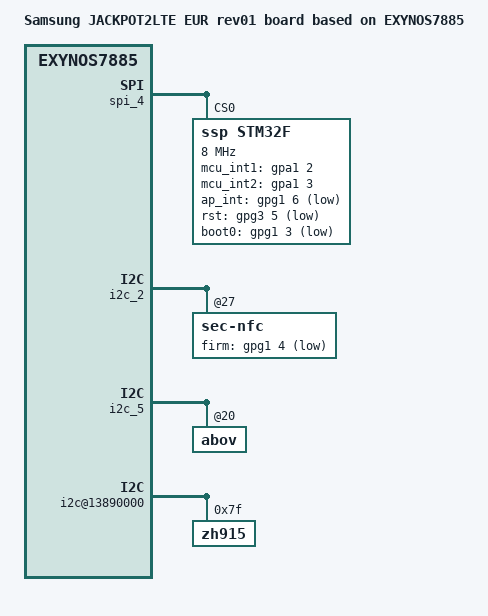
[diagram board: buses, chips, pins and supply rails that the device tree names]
/*
 * SAMSUNG UNIVERSAL7885 board device tree source
 *
 * Copyright (c) 2013 Samsung Electronics Co., Ltd.
 *		http://www.samsung.com
 *
 * This program is free software; you can redistribute it and/or modify
 * it under the terms of the GNU General Public License version 2 as
 * published by the Free Software Foundation.
*/

/dts-v1/;
#include "exynos7885-jackpot2lte_common.dtsi"
#include "exynos7885-jackpotlte_fingerprint-sensor_00.dtsi"
#include "exynos7885-jackpot2lte_eur_open_gpio_00.dtsi"
#include "exynos7885-jackpotlte_mst_02.dtsi"
#include "exynos7885-jackpot2lte_svcled.dtsi"

/ {
	model = "Samsung JACKPOT2LTE EUR rev01 board based on EXYNOS7885";
	model_info-chip = <7885>;
	model_info-platform = "android";
	model_info-subtype = "samsung";
	model_info-hw_rev = <2>;
	model_info-hw_rev_end = <2>;
	compatible = "samsung, JACKPOT2LTE EUR rev01", "samsung,Universal7885";

	/* SENSORHUB */
    spi_4: spi@13980000 {
        #address-cells = <1>;
        #size-cells = <0>;

        pinctrl-names = "default";
        pinctrl-0 = <&spi4_miso &spi4_mosi &spi4_cs &spi4_clk>;
        interrupts = <0 277 0>;

        num-cs = <1>;
        status = "okay";

		STM32F@0 {
			compatible = "ssp,STM32F";
			reg = <0>;
			spi-max-frequency = <8000000>;
			spi-cpol;
			spi-cpha;
			pinctrl-names = "default";
			pinctrl-0 = <&ssp_rst &ssp_ap_int &ssp_mcu_int1 &ssp_mcu_int2 &ssp_boot0>;

			gpio-controller;
			#gpio-cells = <2>;
			ssp,mcu_int1-gpio = <&gpa1 2 0x00>;
			ssp,mcu_int2-gpio = <&gpa1 3 0x00>;
			ssp,ap_int-gpio = <&gpg1 6 0x01>;
			ssp,rst-gpio = <&gpg3 5 0x01>;
			ssp,boot0-gpio = <&gpg1 3 0x1>;
			ssp,acc-position = <6>;
			ssp,mag-position = <5>;
			ssp-sns-combination = <0>;
			ssp,prox-hi_thresh = <55>;
			ssp,prox-low_thresh = <40>;
			ssp,prox-detect_hi_thresh = <250>;
			ssp,prox-detect_low_thresh = <130>;
			ssp-ap-rev = <1>;
			ssp-mag-array = /bits/ 8 <118 84 64 98 6 196 255 46 212
                                    55 242 196 116 2 255 238 255 177
                                    193 111 192 254 189 53 11 73 25>;
			ssp-mag-type = <1>;
			ssp-glass-type = <0>;
			ssp-acc-type = <1>;
			ssp-pressure-type = <1>;
			ssp-project-type = <2>;


            controller-data {
                cs-gpio = <&gpp8 0 0>;
                samsung,spi-feedback-delay = <0>;
			};
        };
	};

	pinctrl@139B0000 {
		nfc_pvdd_en: nfc_pvdd_en {
				samsung,pins = "gpg1-5";
				samsung,pin-function = <1>;
				samsung,pin-pud = <0>;
				samsung,pin-val = <0>;
				samsung,pin-con-pdn = <3>;
				samsung,pin-pud-pdn = <0>;
		};

		nfc_firm: nfc_firm {
			samsung,pins = "gpg1-4";
			samsung,pin-function = <1>;
			samsung,pin-pud = <0>;
			samsung,pin-val = <0>;
			samsung,pin-con-pdn = <3>;
			samsung,pin-pud-pdn = <0>;
		};
	};

	i2c_2: i2c@13850000 {
		sec-nfc@27 {
			sec-nfc,firm-gpio = <&gpg1 4 1>;
			sec-nfc,pvdd_en = <&gpg1 5 1>;
			pinctrl-names = "default";
			pinctrl-0 = <&nfc_pd &nfc_firm &nfc_int &nfc_clk &nfc_pvdd_en &nfc_clk_req>;
		};
	};
	
	/* USIM DETECTION FOR CP */
	usim_det {
		pinctrl-names = "default";
		pinctrl-0 = <&sim0_det_gpio &sim1_det_gpio>;
		mif,num_of_usim_det = <2>;
		mif,usim-det0-gpio = <&gpa2 6 0>;
		mif,usim-det1-gpio = <&gpa2 5 0>;
	};

	/* fimc_is_sensor_2p6 */
	fimc_is_sensor_2p6: fimc-is_sensor_2p6@5A {
		gpio_reset = <&gpq0 1 0x1>; /* sensor reset - jackpot2 hw_rev = 000'b ~ 011'b */
	};

	/* sec-wf-thermistor */
	sec_thermistor@6 {
		status = "disabled";
	};

	i2c_5:i2c@13880000 {
		abov@20 {
			abov,bringup = <1>;
		};
	};

	/* motor control type :  1 = IFPMIC */
	/*                                  2 = Mot driving IC */
	motor {
		motor,motor_type = <2>;
	};

	pinctrl@13430000 {
		motor: motor {
			samsung,pins = "gpf3-4";
			samsung,pin-function = <1>;
			samsung,pin-pud = <1>;
			samsung,pin-val = <1>;
			samsung,pin-drv = <0>;
		};
		motor_en_high: motor_en_high {
			samsung,pins = "gpf3-4";
			samsung,pin-function = <1>;
			samsung,pin-pud = <3>;
			samsung,pin-val = <1>;
			samsung,pin-drv = <0>;
		};
	};

	i2c@13890000 {
		status = "okay";
 		#address-cells = <1>;
		#size-cells = <0>;
		
		zh915@7F {
			compatible = "zh915";
			reg = <0x7F>;
			pinctrl-names ="default", "motor_en_high";
			pinctrl-0 = <&motor>;
			pinctrl-1 = <&motor_en_high>;
			status = "okay";
			mot_boost_en = <&gpf3 4 0>;
		};
	};
};
